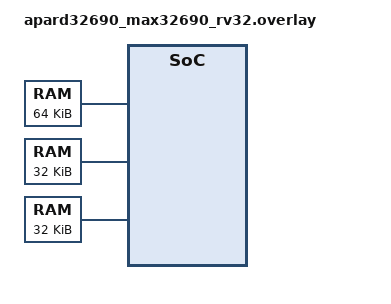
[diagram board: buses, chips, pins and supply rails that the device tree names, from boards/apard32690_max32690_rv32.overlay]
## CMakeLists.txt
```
#
# Copyright (c) 2022 Nordic Semiconductor ASA
#
# SPDX-License-Identifier: Apache-2.0
#

cmake_minimum_required(VERSION 3.28.0)

find_package(Zephyr REQUIRED HINTS $ENV{ZEPHYR_BASE})
project(ipc_service_remote)

target_include_directories(app PRIVATE ${CMAKE_CURRENT_SOURCE_DIR}/../common)

target_sources(app PRIVATE src/main.c)
```

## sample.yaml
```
sample:
  name: IPC Service example integration (icmsg backend) (remote)
tests:
  sample.ipc.icmsg_remote:
    platform_allow: nrf5340dk_nrf5340_cpunet
    integration_platforms:
      - nrf5340dk_nrf5340_cpunet
    tags: ipc
    harness: remote
```

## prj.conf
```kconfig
CONFIG_PRINTK=y

CONFIG_IPC_SERVICE=y
CONFIG_IPC_SERVICE_BACKEND_ICMSG=y
CONFIG_MBOX=y

CONFIG_LOG=y
CONFIG_ASSERT=y
```

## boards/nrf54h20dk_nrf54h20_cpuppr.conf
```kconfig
#
# Copyright (c) 2025 Nordic Semiconductor ASA
#
# SPDX-License-Identifier: Apache-2.0
#
################################################################################

CONFIG_LOG=y
CONFIG_LOG_MODE_MINIMAL=y
CONFIG_ASSERT=n
CONFIG_LOG_BACKEND_UART=n

CONFIG_BOOT_BANNER=n
CONFIG_EARLY_CONSOLE=y
CONFIG_HEAP_MEM_POOL_SIZE=1024

CONFIG_SIZE_OPTIMIZATIONS=y
```

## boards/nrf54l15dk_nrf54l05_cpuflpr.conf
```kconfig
# SPDX-FileCopyrightText: Copyright The Zephyr Project Contributors
# SPDX-License-Identifier: Apache-2.0

CONFIG_LOG_MODE_MINIMAL=y
CONFIG_ASSERT=n
```

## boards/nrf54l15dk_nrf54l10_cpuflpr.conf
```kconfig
# SPDX-FileCopyrightText: Copyright The Zephyr Project Contributors
# SPDX-License-Identifier: Apache-2.0

CONFIG_LOG=n
CONFIG_LOG_MODE_MINIMAL=y
CONFIG_ASSERT=n
```

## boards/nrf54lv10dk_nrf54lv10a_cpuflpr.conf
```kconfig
CONFIG_LOG=y
CONFIG_LOG_MODE_MINIMAL=y
CONFIG_ASSERT=n
CONFIG_LOG_BACKEND_UART=n

CONFIG_BOOT_BANNER=n
CONFIG_EARLY_CONSOLE=y
CONFIG_HEAP_MEM_POOL_SIZE=1024

CONFIG_SIZE_OPTIMIZATIONS=y
```

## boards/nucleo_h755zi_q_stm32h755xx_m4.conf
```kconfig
# SPDX-FileCopyrightText: Copyright The Zephyr Project Contributors
# SPDX-License-Identifier: Apache-2.0

CONFIG_SERIAL=y
CONFIG_CONSOLE=y
CONFIG_UART_CONSOLE=y
CONFIG_LOG_BACKEND_UART=y
```

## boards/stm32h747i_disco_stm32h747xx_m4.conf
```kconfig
# SPDX-FileCopyrightText: Copyright The Zephyr Project Contributors
# SPDX-License-Identifier: Apache-2.0

CONFIG_CONSOLE=y
CONFIG_UART_CONSOLE=y
CONFIG_LOG_BACKEND_UART=y
```

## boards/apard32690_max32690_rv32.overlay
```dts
/*
 * Copyright (c) 2026 Analog Devices, Inc.
 *
 * SPDX-License-Identifier: Apache-2.0
 */

/ {
	chosen {
		/* Limit RV32 core to lower 64KB of SRAM8, since the upper
		 * half is reserved for RX/TX
		 */
		zephyr,sram = &sram8_low;
	};

	sram8_low: memory@20100000 {
		compatible = "mmio-sram";
		reg = <0x20100000 DT_SIZE_K(64)>;
	};

	/* Use the upper half of SRAM8 for RX/TX, since the
	 * lower half is reserved for the RV32 core's data
	 */
	sram8_tx: memory@20110000 {
		compatible = "mmio-sram";
		reg = <0x20110000 DT_SIZE_K(32)>;
	};

	sram8_rx: memory@20118000 {
		compatible = "mmio-sram";
		reg = <0x20118000 DT_SIZE_K(32)>;
	};

	ipc {
		ipc0: ipc0 {
			compatible = "zephyr,ipc-icmsg";
			dcache-alignment = <32>;
			tx-region = <&sram8_tx>;
			rx-region = <&sram8_rx>;
			mboxes = <&mbox 0 &mbox 0>;
			mbox-names = "tx", "rx";
			status = "okay";
		};
	};
};

&mbox {
	status = "okay";
};
```

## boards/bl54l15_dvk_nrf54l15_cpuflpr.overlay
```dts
/*
 * Copyright (c) 2024 Nordic Semiconductor ASA
 * Copyright (c) 2025 Ezurio LLC
 *
 * SPDX-License-Identifier: Apache-2.0
 */

/ {
	soc {
		reserved-memory {
			#address-cells = <1>;
			#size-cells = <1>;

			sram_tx: memory@20018000 {
				reg = <0x20018000 0x0800>;
			};

			sram_rx: memory@20020000 {
				reg = <0x20020000 0x0800>;
			};
		};
	};

	ipc {
		ipc0: ipc0 {
			compatible = "zephyr,ipc-icmsg";
			dcache-alignment = <32>;
			tx-region = <&sram_tx>;
			rx-region = <&sram_rx>;
			mboxes = <&cpuflpr_vevif_rx 21>, <&cpuflpr_vevif_tx 20>;
			mbox-names = "rx", "tx";
			status = "okay";
		};
	};
};

&cpuflpr_vevif_rx {
	status = "okay";
};

&cpuflpr_vevif_tx {
	status = "okay";
};

&uart30 {
	/delete-property/ hw-flow-control;
};
```

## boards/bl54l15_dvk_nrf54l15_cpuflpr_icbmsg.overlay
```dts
/*
 * Copyright (c) 2024 Nordic Semiconductor ASA
 * Copyright (c) 2025 Ezurio LLC
 *
 * SPDX-License-Identifier: Apache-2.0
 */

/ {
	soc {
		reserved-memory {
			#address-cells = <1>;
			#size-cells = <1>;

			sram_tx: memory@20018000 {
				reg = <0x20018000 0x0800>;
			};

			sram_rx: memory@20020000 {
				reg = <0x20020000 0x0800>;
			};
		};
	};

	ipc {
		ipc0: ipc0 {
			compatible = "zephyr,ipc-icbmsg";
			dcache-alignment = <32>;
			tx-region = <&sram_tx>;
			rx-region = <&sram_rx>;
			tx-blocks = <18>;
			rx-blocks = <16>;
			mboxes = <&cpuflpr_vevif_rx 21>, <&cpuflpr_vevif_tx 20>;
			mbox-names = "rx", "tx";
			status = "okay";
		};
	};
};

&cpuflpr_vevif_rx {
	status = "okay";
};

&cpuflpr_vevif_tx {
	status = "okay";
};

&uart30 {
	/delete-property/ hw-flow-control;
};
```

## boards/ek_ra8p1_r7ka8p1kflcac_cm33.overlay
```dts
/*
 * Copyright (c) 2025-2026 Renesas Electronics Corporation
 * SPDX-License-Identifier: Apache-2.0
 */

/ {
	ipc {
		ipc0: ipc0 {
			compatible = "zephyr,ipc-icmsg";
			tx-region = <&sram_tx>;
			rx-region = <&sram_rx>;
			dcache-alignment = <32>;
			mboxes = <&mbox0 0>, <&mbox0 0>;
			mbox-names = "tx", "rx";
			status = "okay";
		};
	};

	soc {
		/* Define shared memory regions for IPC */
		reserved-memory {
			#address-cells = <1>;
			#size-cells = <1>;

			sram_tx: memory@2219f000 {
				reg = <0x2219f000 0x800>;
			};

			sram_rx: memory@2219f800 {
				reg = <0x2219f800 0x800>;
			};
		};
	};
};

/* Redefine sram size for CPU1 */
&sram1 {
	reg = <0x22100000 DT_SIZE_K(636)>;
};

&mbox0 {
	interrupts = <94 1>;
	status = "okay";
};
```

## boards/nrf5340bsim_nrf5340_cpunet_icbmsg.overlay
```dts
/*
 * Copyright (c) 2022 Nordic Semiconductor ASA
 *
 * SPDX-License-Identifier: Apache-2.0
 */

/ {
	chosen {
		/delete-property/ zephyr,ipc_shm;
	};

	reserved-memory {
		/delete-node/ memory@20070000;

		sram_rx: memory@20070000 {
			reg = <0x20070000 0x0800>;
		};

		sram_tx: memory@20078000 {
			reg = <0x20078000 0x0800>;
		};
	};

	ipc {
		/delete-node/ ipc0;

		ipc0: ipc0 {
			compatible = "zephyr,ipc-icbmsg";
			tx-region = <&sram_tx>;
			rx-region = <&sram_rx>;
			mboxes = <&mbox 0>, <&mbox 1>;
			mbox-names = "rx", "tx";
			tx-blocks = <18>;
			rx-blocks = <16>;
			status = "okay";
		};
	};
};
```

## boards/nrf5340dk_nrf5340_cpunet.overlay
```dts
/*
 * Copyright (c) 2022 Nordic Semiconductor ASA
 *
 * SPDX-License-Identifier: Apache-2.0
 */

/delete-node/ &sram0_shared;

/ {
	chosen {
		/delete-property/ zephyr,ipc_shm;
	};

	reserved-memory {
		#address-cells = <1>;
		#size-cells = <1>;

		sram_rx: memory@20070000 {
			reg = <0x20070000 0x0800>;
		};

		sram_tx: memory@20078000 {
			reg = <0x20078000 0x0800>;
		};
	};

	ipc {
		/delete-node/ ipc0;

		ipc0: ipc0 {
			compatible = "zephyr,ipc-icmsg";
			tx-region = <&sram_tx>;
			rx-region = <&sram_rx>;
			mboxes = <&mbox 0>, <&mbox 1>;
			mbox-names = "rx", "tx";
			status = "okay";
		};
	};
};
```

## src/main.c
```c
/*
 * Copyright (c) 2022 Nordic Semiconductor ASA
 *
 * SPDX-License-Identifier: Apache-2.0
 */

#include <zephyr/kernel.h>
#include <zephyr/device.h>

#include <zephyr/ipc/ipc_service.h>

#include <common.h>

#include <zephyr/logging/log.h>
LOG_MODULE_REGISTER(remote, LOG_LEVEL_INF);

#if defined(CONFIG_MULTITHREADING)
K_SEM_DEFINE(bound_sem, 0, 1);
#else
volatile uint32_t bound_sem = 1;
volatile uint32_t recv_sem = 1;
#endif

static unsigned char expected_message = 'a';
static size_t expected_len = PACKET_SIZE_START;
static size_t received;

static void ep_bound(void *priv)
{
	received = 0;
#if defined(CONFIG_MULTITHREADING)
	k_sem_give(&bound_sem);
#else
	bound_sem = 0;
#endif
	LOG_INF("Ep bounded");
}

static void ep_recv(const void *data, size_t len, void *priv)
{
#if defined(CONFIG_ASSERT)
	struct data_packet *packet = (struct data_packet *)data;

	__ASSERT(packet->data[0] == expected_message, "Unexpected message. Expected %c, got %c",
		expected_message, packet->data[0]);
	__ASSERT(len == expected_len, "Unexpected length. Expected %zu, got %zu",
		expected_len, len);
#endif

#ifndef CONFIG_MULTITHREADING
	recv_sem = 0;
#endif

	received += len;
	expected_message++;
	expected_len++;

	if (expected_message > 'z') {
		expected_message = 'a';
	}

	if (expected_len > sizeof(struct data_packet)) {
		expected_len = PACKET_SIZE_START;
	}
}

static int send_for_time(struct ipc_ept *ep, const int64_t sending_time_ms)
{
	struct data_packet msg = {.data[0] = 'A'};
	size_t mlen = PACKET_SIZE_START;
	size_t bytes_sent = 0;
	int ret = 0;

	LOG_INF("Perform sends for %lld [ms]", sending_time_ms);

	int64_t start = k_uptime_get();

	while ((k_uptime_get() - start) < sending_time_ms) {
		ret = ipc_service_send(ep, &msg, mlen);
		if (ret == -ENOMEM) {
			/* No space in the buffer. Retry. */
			ret = 0;
			continue;
		} else if (ret < 0) {
			LOG_ERR("Failed to send (%c) failed with ret %d", msg.data[0], ret);
			break;
		}
#if !defined(CONFIG_MULTITHREADING)
		else {
			recv_sem = 1;
		}
#endif

		msg.data[0]++;
		if (msg.data[0] > 'Z') {
			msg.data[0] = 'A';
		}

		bytes_sent += mlen;
		mlen++;

		if (mlen > sizeof(struct data_packet)) {
			mlen = PACKET_SIZE_START;
		}

#if defined(CONFIG_MULTITHREADING)
		k_usleep(1);
#else
		while ((recv_sem != 0) && ((k_uptime_get() - start) < sending_time_ms)) {
		};
#endif
	}

	LOG_INF("Sent %zu [Bytes] over %lld [ms]", bytes_sent, sending_time_ms);

	return ret;
}

static struct ipc_ept_cfg ep_cfg = {
	.cb = {
		.bound    = ep_bound,
		.received = ep_recv,
	},
};

int main(void)
{
	const struct device *ipc0_instance;
	struct ipc_ept ep;
	int ret;

	LOG_INF("IPC-service REMOTE demo started");

	ipc0_instance = DEVICE_DT_GET(DT_NODELABEL(ipc0));

	ret = ipc_service_open_instance(ipc0_instance);
	if ((ret < 0) && (ret != -EALREADY)) {
		LOG_ERR("ipc_service_open_instance() failure");
		return ret;
	}

	ret = ipc_service_register_endpoint(ipc0_instance, &ep, &ep_cfg);
	if (ret < 0) {
		LOG_ERR("ipc_service_register_endpoint() failure");
		return ret;
	}

#if defined(CONFIG_MULTITHREADING)
	k_sem_take(&bound_sem, K_FOREVER);
#else
	while (bound_sem != 0) {
	};
#endif

	ret = send_for_time(&ep, SENDING_TIME_MS);
	if (ret < 0) {
		LOG_ERR("send_for_time() failure");
		return ret;
	}

	LOG_INF("Received %zu [Bytes] in total", received);
	LOG_INF("IPC-service REMOTE demo ended");

	return 0;
}
```
